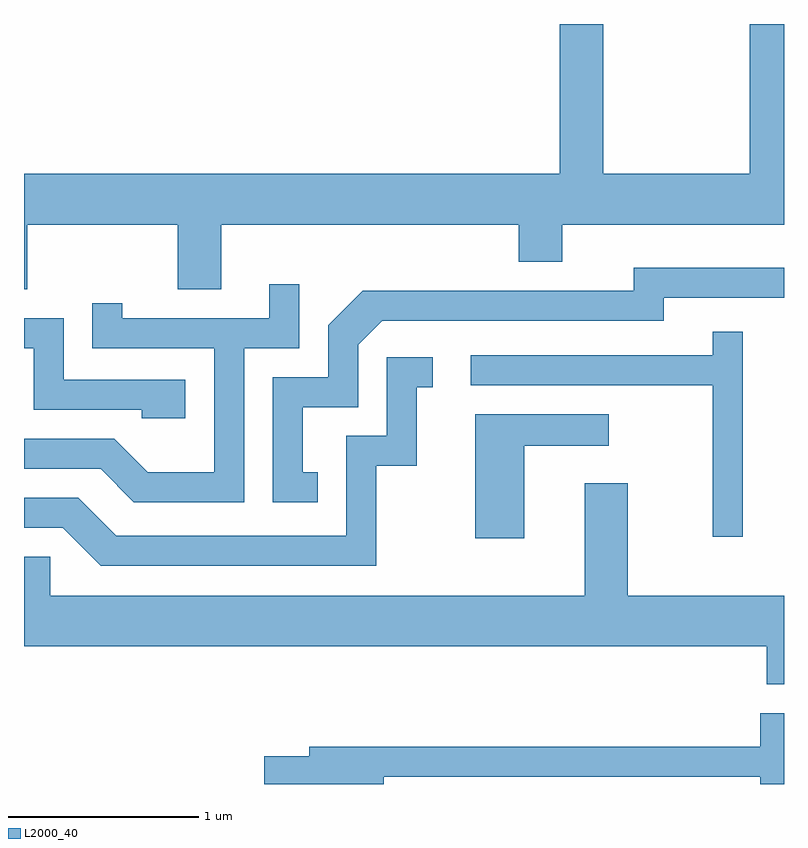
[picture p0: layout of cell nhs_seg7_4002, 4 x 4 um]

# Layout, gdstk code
import gdstk
lib = gdstk.Library(unit=1e-6, precision=1e-09)
def P(c, l, *ps):  # polygons
    for p in ps: c.add(gdstk.Polygon(p, *l))
L2000_40 = (2000, 40)

nhs_seg7_4002 = lib.new_cell('nhs_seg7_4002')
P(nhs_seg7_4002, L2000_40, [(307.629,1723.196),(308.421,1723.196),(308.421,1722.856),(308.649,1722.856),(308.649,1723.196),(310.216,1723.196),(310.216,1723.001),(310.444,1723.001),(310.444,1723.196),(311.611,1723.196),(311.611,1724.252),(311.431,1724.252),(311.431,1723.464),(310.659,1723.464),(310.659,1724.252),(310.431,1724.252),(310.431,1723.464),(307.611,1723.464),(307.611,1722.856),(307.629,1722.856)],
  [(309.158,1721.894),(309.079,1721.894),(309.079,1722.236),(309.369,1722.236),(309.369,1722.564),(309.497,1722.691),(310.979,1722.691),(310.979,1722.811),(311.611,1722.811),(311.611,1722.969),(310.821,1722.969),(310.821,1722.849),(309.394,1722.849),(309.211,1722.667),(309.211,1722.394),(308.921,1722.394),(308.921,1721.736),(309.158,1721.736)],
  [(308.769,1722.546),(309.059,1722.546),(309.059,1722.883),(308.901,1722.883),(308.901,1722.704),(308.129,1722.704),(308.129,1722.783),(307.971,1722.783),(307.971,1722.546),(308.611,1722.546),(308.611,1721.894),(308.262,1721.894),(308.087,1722.069),(307.611,1722.069),(307.611,1721.911),(308.014,1721.911),(308.189,1721.736),(308.769,1721.736)],
  [(308.459,1722.379),(307.819,1722.379),(307.819,1722.704),(307.611,1722.704),(307.611,1722.546),(307.661,1722.546),(307.661,1722.221),(308.231,1722.221),(308.231,1722.176),(308.459,1722.176)],
  [(311.394,1722.633),(311.236,1722.633),(311.236,1722.509),(309.963,1722.509),(309.963,1722.351),(311.236,1722.351),(311.236,1721.553),(311.394,1721.553)],
  [(309.464,1721.926),(309.679,1721.926),(309.679,1722.341),(309.763,1722.341),(309.763,1722.499),(309.521,1722.499),(309.521,1722.084),(309.306,1722.084),(309.306,1721.559),(308.097,1721.559),(307.897,1721.759),(307.611,1721.759),(307.611,1721.601),(307.814,1721.601),(308.014,1721.401),(309.464,1721.401)],
  [(310.244,1722.031),(310.688,1722.031),(310.688,1722.199),(309.986,1722.199),(309.986,1721.546),(310.244,1721.546)],
  [(311.611,1721.244),(310.789,1721.244),(310.789,1721.834),(310.561,1721.834),(310.561,1721.244),(307.749,1721.244),(307.749,1721.449),(307.611,1721.449),(307.611,1720.976),(311.521,1720.976),(311.521,1720.776),(311.611,1720.776)],
  [(309.504,1720.291),(311.486,1720.291),(311.486,1720.252),(311.611,1720.252),(311.611,1720.624),(311.486,1720.624),(311.486,1720.449),(309.111,1720.449),(309.111,1720.399),(308.876,1720.399),(308.876,1720.252),(309.504,1720.252)])

lib.write_gds('nhs_seg7_4002.gds')
